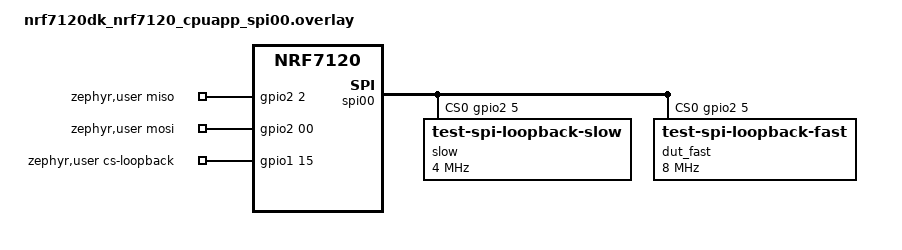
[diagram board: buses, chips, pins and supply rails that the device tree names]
/*
 * Copyright (c) 2026 Nordic Semiconductor ASA
 *
 * SPDX-License-Identifier: Apache-2.0
 */

/*
 * Test requires following loopback:
 * P2.00 - P2.02
 */

 / {
	zephyr,user {
		miso-gpios = <&gpio2 2 GPIO_ACTIVE_HIGH>;
		mosi-gpios = <&gpio2 00 GPIO_ACTIVE_HIGH>;
		cs-loopback-gpios = <&gpio1 15 0>; //need some loopback that is actually connected to CSN
	};
};

&spi00 {
	status = "okay";
	pinctrl-0 = <&spi00_default>;
	pinctrl-1 = <&spi00_sleep>;
	pinctrl-names = "default", "sleep";
	overrun-character = <0x00>;
	zephyr,pm-device-runtime-auto;
	cs-gpios = <&gpio2 5 0>;

	slow@0 {
		compatible = "test-spi-loopback-slow";
		reg = <0>;
		spi-max-frequency = <DT_FREQ_M(4)>;
	};

	dut_fast: fast@0 {
		compatible = "test-spi-loopback-fast";
		reg = <0>;
		spi-max-frequency = <DT_FREQ_M(8)>;
	};
};

&gpio2 {
	status = "okay";
};
